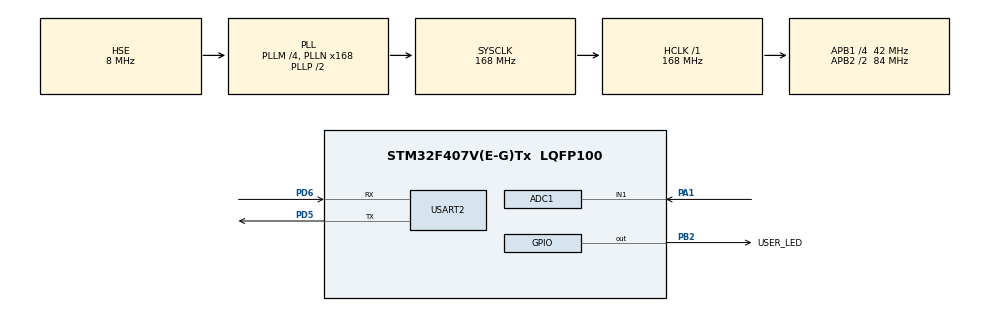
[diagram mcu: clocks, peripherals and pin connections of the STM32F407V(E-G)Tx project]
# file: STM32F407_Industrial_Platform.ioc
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ADC1.Channel-0\#ChannelRegularConversion=ADC_CHANNEL_1
ADC1.DMAContinuousRequests=ENABLE
ADC1.ExternalTrigConv=ADC_EXTERNALTRIGCONV_T2_TRGO
ADC1.NbrOfConversion=1
ADC1.NbrOfConversionFlag=1
ADC1.Rank-0\#ChannelRegularConversion=1
ADC1.SamplingTime-0\#ChannelRegularConversion=ADC_SAMPLETIME_84CYCLES
ADC1.master=1
Dma.ADC1.0.Direction=DMA_PERIPH_TO_MEMORY
Dma.ADC1.0.FIFOMode=DMA_FIFOMODE_DISABLE
Dma.ADC1.0.Instance=DMA2_Stream0
Dma.ADC1.0.MemDataAlignment=DMA_MDATAALIGN_HALFWORD
Dma.ADC1.0.MemInc=DMA_MINC_ENABLE
Dma.ADC1.0.Mode=DMA_CIRCULAR
Dma.ADC1.0.PeriphDataAlignment=DMA_PDATAALIGN_HALFWORD
Dma.ADC1.0.PeriphInc=DMA_PINC_DISABLE
Dma.ADC1.0.Priority=DMA_PRIORITY_LOW
Dma.Request0=ADC1
Dma.Request1=USART2_RX
Dma.USART2_RX.1.Direction=DMA_PERIPH_TO_MEMORY
Dma.USART2_RX.1.FIFOMode=DMA_FIFOMODE_DISABLE
Dma.USART2_RX.1.Instance=DMA1_Stream5
Dma.USART2_RX.1.MemDataAlignment=DMA_MDATAALIGN_BYTE
Dma.USART2_RX.1.MemInc=DMA_MINC_ENABLE
Dma.USART2_RX.1.Mode=DMA_CIRCULAR
Dma.USART2_RX.1.PeriphDataAlignment=DMA_PDATAALIGN_BYTE
Dma.USART2_RX.1.PeriphInc=DMA_PINC_DISABLE
Dma.USART2_RX.1.Priority=DMA_PRIORITY_LOW
FREERTOS.Tasks01=HeartBeatTask,24,128,StartHeartBeatTask,Default,NULL,Dynamic,NULL,NULL;UARTTask,24,256,StartUARTTask,Default,NULL,Dynamic,NULL,NULL;AcquisitionTask,32,256,StartAcquisitionTask,Default,NULL,Dynamic,NULL,NULL
Mcu.Family=STM32F4
Mcu.Name=STM32F407V(E-G)Tx
Mcu.Package=LQFP100
NVIC.DMA1_Stream5_IRQn=true\:5\:0\:false\:false\:true\:true\:false\:true\:true
NVIC.DMA2_Stream0_IRQn=true\:5\:0\:false\:false\:true\:true\:false\:true\:true
NVIC.PriorityGroup=NVIC_PRIORITYGROUP_4
NVIC.TIM6_DAC_IRQn=true\:15\:0\:false\:false\:true\:false\:false\:true\:true
NVIC.TIM7_IRQn=true\:5\:0\:false\:false\:true\:true\:true\:true\:true
NVIC.TimeBase=TIM6_DAC_IRQn
NVIC.TimeBaseIP=TIM6
NVIC.USART2_IRQn=true\:5\:0\:false\:false\:true\:true\:true\:true\:true
PA1.Signal=ADCx_IN1
PA13.Mode=Serial_Wire
PA13.Signal=SYS_JTMS-SWDIO
PA14.Mode=Serial_Wire
PA14.Signal=SYS_JTCK-SWCLK
PB2.GPIO_Label=USER_LED
PB2.Signal=GPIO_Output
PD5.Mode=Asynchronous
PD5.Signal=USART2_TX
PD6.Mode=Asynchronous
PD6.Signal=USART2_RX
PH0-OSC_IN.Mode=HSE-External-Oscillator
PH0-OSC_IN.Signal=RCC_OSC_IN
PH1-OSC_OUT.Mode=HSE-External-Oscillator
PH1-OSC_OUT.Signal=RCC_OSC_OUT
ProjectManager.HeapSize=0x200
ProjectManager.StackSize=0x400
ProjectManager.TargetToolchain=CMake
RCC.48MHZClocksFreq_Value=84000000
RCC.AHBFreq_Value=168000000
RCC.APB1CLKDivider=RCC_HCLK_DIV4
RCC.APB1Freq_Value=42000000
RCC.APB1TimFreq_Value=84000000
RCC.APB2CLKDivider=RCC_HCLK_DIV2
RCC.APB2Freq_Value=84000000
RCC.APB2TimFreq_Value=168000000
RCC.CortexFreq_Value=168000000
RCC.HCLKFreq_Value=168000000
RCC.HSE_VALUE=8000000
RCC.HSI_VALUE=16000000
RCC.LSE_VALUE=32768
RCC.PLLM=4
RCC.PLLN=168
RCC.PLLSourceVirtual=RCC_PLLSOURCE_HSE
RCC.SYSCLKFreq_VALUE=168000000
RCC.SYSCLKSource=RCC_SYSCLKSOURCE_PLLCLK
RCC.VCOOutputFreq_Value=336000000
SH.ADCx_IN1.0=ADC1_IN1,IN1
TIM2.Period=199
TIM2.Prescaler=8399
TIM2.TIM_MasterOutputTrigger=TIM_TRGO_UPDATE
TIM7.AutoReloadPreload=TIM_AUTORELOAD_PRELOAD_ENABLE
TIM7.Period=999
TIM7.Prescaler=8399
USART2.VirtualMode=VM_ASYNC
VP_FREERTOS_VS_CMSIS_V2.Mode=CMSIS_V2
VP_SYS_VS_tim6.Mode=TIM6
VP_TIM2_VS_ClockSourceINT.Mode=Internal
VP_TIM7_VS_ClockSourceINT.Mode=Enable_Timer
board=custom

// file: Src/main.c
/* USER CODE BEGIN Header */
/**
  ******************************************************************************
  * @file           : main.c
  * @brief          : Main program body
  ******************************************************************************
  * @attention
  *
  * Copyright (c) 2026 STMicroelectronics.
  * All rights reserved.
  *
  * This software is licensed under terms that can be found in the LICENSE file
  * in the root directory of this software component.
  * If no LICENSE file comes with this software, it is provided AS-IS.
  *
  ******************************************************************************
  */
/* USER CODE END Header */
#include "main.h"
#include "cmsis_os.h"
#include "adc.h"
#include "dma.h"
#include "tim.h"
#include "usart.h"
#include "gpio.h"

void SystemClock_Config(void);
void MX_FREERTOS_Init(void);

int main(void)
{

  /* MCU Configuration--------------------------------------------------------*/

  /* Reset of all peripherals, Initializes the Flash interface and the Systick. */
  HAL_Init();

  /* Configure the system clock */
  SystemClock_Config();

  /* Initialize all configured peripherals */
  MX_GPIO_Init();
  MX_DMA_Init();
  MX_USART2_UART_Init();
  MX_TIM7_Init();
  MX_ADC1_Init();
  MX_TIM2_Init();

  /* Init scheduler */
  osKernelInitialize();  /* Call init function for freertos objects (in cmsis_os2.c) */
  MX_FREERTOS_Init();

  /* Start scheduler */
  osKernelStart();

  /* We should never get here as control is now taken by the scheduler */

  /* Infinite loop */
  while (1)
  {

  }
}

void SystemClock_Config(void)
{
  RCC_OscInitTypeDef RCC_OscInitStruct = {0};
  RCC_ClkInitTypeDef RCC_ClkInitStruct = {0};

  /** Configure the main internal regulator output voltage
  */
  __HAL_RCC_PWR_CLK_ENABLE();
  __HAL_PWR_VOLTAGESCALING_CONFIG(PWR_REGULATOR_VOLTAGE_SCALE1);

  /** Initializes the RCC Oscillators according to the specified parameters
  * in the RCC_OscInitTypeDef structure.
  */
  RCC_OscInitStruct.OscillatorType = RCC_OSCILLATORTYPE_HSE;
  RCC_OscInitStruct.HSEState = RCC_HSE_ON;
  RCC_OscInitStruct.PLL.PLLState = RCC_PLL_ON;
  RCC_OscInitStruct.PLL.PLLSource = RCC_PLLSOURCE_HSE;
  RCC_OscInitStruct.PLL.PLLM = 4;
  RCC_OscInitStruct.PLL.PLLN = 168;
  RCC_OscInitStruct.PLL.PLLP = RCC_PLLP_DIV2;
  RCC_OscInitStruct.PLL.PLLQ = 4;
  if (HAL_RCC_OscConfig(&RCC_OscInitStruct) != HAL_OK)
  {
    Error_Handler();
  }

  /** Initializes the CPU, AHB and APB buses clocks
  */
  RCC_ClkInitStruct.ClockType = RCC_CLOCKTYPE_HCLK|RCC_CLOCKTYPE_SYSCLK
                              |RCC_CLOCKTYPE_PCLK1|RCC_CLOCKTYPE_PCLK2;
  RCC_ClkInitStruct.SYSCLKSource = RCC_SYSCLKSOURCE_PLLCLK;
  RCC_ClkInitStruct.AHBCLKDivider = RCC_SYSCLK_DIV1;
  RCC_ClkInitStruct.APB1CLKDivider = RCC_HCLK_DIV4;
  RCC_ClkInitStruct.APB2CLKDivider = RCC_HCLK_DIV2;

  if (HAL_RCC_ClockConfig(&RCC_ClkInitStruct, FLASH_LATENCY_5) != HAL_OK)
  {
    Error_Handler();
  }
}

void HAL_TIM_PeriodElapsedCallback(TIM_HandleTypeDef *htim)
{
  if (htim->Instance == TIM6)
  {
    HAL_IncTick();
  }
}

void Error_Handler(void)
{
  __disable_irq();
  while (1)
  {
  }
}

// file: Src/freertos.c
/* USER CODE BEGIN Header */
/**
  ******************************************************************************
  * File Name          : freertos.c
  * Description        : Code for freertos applications
  ******************************************************************************
  * @attention
  *
  * Copyright (c) 2026 STMicroelectronics.
  * All rights reserved.
  *
  * This software is licensed under terms that can be found in the LICENSE file
  * in the root directory of this software component.
  * If no LICENSE file comes with this software, it is provided AS-IS.
  *
  ******************************************************************************
  */
/* USER CODE END Header */

#include "FreeRTOS.h"
#include "cmsis_os2.h"
#include "portmacro.h"
#include "projdefs.h"
#include "stm32f407xx.h"
#include "task.h"
#include "main.h"
#include "cmsis_os.h"

/* USER CODE BEGIN Includes */
#include "usart.h"
#include "debug_log.h"
#include "byte_ring_buffer.h"
#include "adc.h"
#include "tim.h"
#include <stdatomic.h>
#include <stdint.h>
#include <stddef.h>
#if defined(M4_ENABLE_SPSC_TEST)
#include "m4_spsc_test.h"
#endif
/* USER CODE END Includes */

/* USER CODE BEGIN PTD */
typedef enum
{
  M6_RX_RUNNING = 0U,
  M6_RX_FAULT_PENDING,
  M6_RX_RECOVERING,
  M6_RX_RETRY_WAIT,
  M6_RX_FAILED
} M6_RxState_t;
/* USER CODE END PTD */

/* USER CODE BEGIN PD */
#define ADC_FLAG_HALF           (1UL << 0)
#define ADC_FLAG_FULL           (1UL << 1)

#define ADC_BUFFER_SIZE         20U

#define M6_RX_DMA_SIZE          256U
#define M6_RING_BUFF_SIZE       1024U
#define M6_RX_MAX_RETRIES       3U
#define M6_RX_RETRY_DELAY_MS    100U
#define SYS_SUMMARY_PERIOD_SEC  5U
/* USER CODE END PD */

/* USER CODE BEGIN Variables */
static uint16_t adc_buffer[ADC_BUFFER_SIZE];
volatile uint32_t voltage = 0;

volatile uint32_t adc_half_count = 0U;
volatile uint32_t adc_full_count = 0U;
volatile uint32_t adc_error_count = 0U;
volatile uint32_t adc_half_processed = 0U;
volatile uint32_t adc_full_processed = 0U;
volatile uint32_t adc_half_tick = 0U;
volatile uint32_t adc_full_tick = 0U;
volatile uint32_t adc_late_count = 0U;

static uint8_t m6_dma_rx_buf[M6_RX_DMA_SIZE];
static uint8_t m6_rx_ring_storage[M6_RING_BUFF_SIZE];
static ByteRingBuffer_t m6_rx_rb;

static volatile uint32_t m6_dma_old_pos = 0U;
static volatile uint32_t m6_start_fail = 0U;

static volatile uint32_t m6_observed_byte = 0U;
static volatile uint32_t m6_written_byte = 0U;
static volatile uint32_t m6_drop_byte = 0U;
static volatile uint32_t m6_consumed_byte = 0U;

static volatile uint32_t m6_last_observed_byte = 0U;
static volatile uint32_t m6_last_written_byte = 0U;
static volatile uint32_t m6_last_drop_byte = 0U;
static volatile uint32_t m6_last_consumed_byte = 0U;
static volatile uint32_t m6_last_pending_byte = 0U;
static volatile uint32_t m6_stats_error_count = 0U;

static volatile uint32_t m6_uart_error_count = 0U;
static volatile uint32_t m6_uart_pe_count = 0U;
static volatile uint32_t m6_uart_ne_count = 0U;
static volatile uint32_t m6_uart_fe_count = 0U;
static volatile uint32_t m6_uart_ore_count = 0U;
static volatile uint32_t m6_uart_dma_error_count = 0U;
static volatile uint32_t m6_uart_last_error = 0U;

static _Atomic uint32_t m6_rx_state = M6_RX_RUNNING;

static volatile uint32_t m6_rx_recover_attempts = 0U;
static volatile uint32_t m6_rx_recover_start_ok = 0U;
static volatile uint32_t m6_recover_attempt_fail = 0U;
static volatile uint32_t m6_rx_recover_exhausted = 0U;
static volatile uint32_t m6_rx_gap_count = 0U;
/* USER CODE END Variables */
/* Definitions for HeartBeatTask */
osThreadId_t HeartBeatTaskHandle;
const osThreadAttr_t HeartBeatTask_attributes = {
  .name = "HeartBeatTask",
  .stack_size = 128 * 4,
  .priority = (osPriority_t) osPriorityNormal,
};
/* Definitions for UARTTask */
osThreadId_t UARTTaskHandle;
const osThreadAttr_t UARTTask_attributes = {
  .name = "UARTTask",
  .stack_size = 256 * 4,
  .priority = (osPriority_t) osPriorityNormal,
};
/* Definitions for AcquisitionTask */
osThreadId_t AcquisitionTaskHandle;
const osThreadAttr_t AcquisitionTask_attributes = {
  .name = "AcquisitionTask",
  .stack_size = 256 * 4,
  .priority = (osPriority_t) osPriorityAboveNormal,
};

/* USER CODE BEGIN FunctionPrototypes */
static HAL_StatusTypeDef M6_UART_RxStart(void)
{
  return HAL_UARTEx_ReceiveToIdle_DMA(&huart2,
                                      m6_dma_rx_buf,
                                      M6_RX_DMA_SIZE);
}

static void M6_GetRxStats(void)
{
  taskENTER_CRITICAL();

  m6_last_consumed_byte = m6_consumed_byte;
  m6_last_drop_byte = m6_drop_byte;
  m6_last_observed_byte = m6_observed_byte;
  m6_last_written_byte = m6_written_byte;
  m6_last_pending_byte = ByteRingBuffer_Pending(&m6_rx_rb);

  taskEXIT_CRITICAL();

  if ((m6_last_observed_byte != (m6_last_drop_byte + m6_last_written_byte)) ||
      (m6_last_written_byte != (m6_last_consumed_byte + m6_last_pending_byte)))
  {
    m6_stats_error_count++;
  }
}

static void M6_UART_RecordError(uint32_t error)
{
  m6_uart_last_error = error;
  m6_uart_error_count++;

  if ((error & HAL_UART_ERROR_PE) != 0U)
  {
    m6_uart_pe_count++;
  }

  if ((error & HAL_UART_ERROR_NE) != 0U)
  {
    m6_uart_ne_count++;
  }

  if ((error & HAL_UART_ERROR_FE) != 0U)
  {
    m6_uart_fe_count++;
  }

  if ((error & HAL_UART_ERROR_ORE) != 0U)
  {
    m6_uart_ore_count++;
  }

  if ((error & HAL_UART_ERROR_DMA) != 0U)
  {
    m6_uart_dma_error_count++;
  }
}

static HAL_StatusTypeDef M6_UART_RecoverRx(void)
{
  DMA_HandleTypeDef *hdma = huart2.hdmarx;
  HAL_StatusTypeDef status;

  if (hdma == NULL)
  {
    return HAL_ERROR;
  }

  /* Wait while HAL DMA abort is still in progress. */
  if (HAL_DMA_GetState(hdma) == HAL_DMA_STATE_ABORT)
  {
    return HAL_BUSY;
  }

  /* UART already cleared DMAR, but DMA stream has not returned to READY yet. */
  if ((HAL_DMA_GetState(hdma) == HAL_DMA_STATE_BUSY) &&
      ((huart2.Instance->CR3 & USART_CR3_DMAR) == 0U))
  {
    return HAL_BUSY;
  }

  /* Explicitly abort RX only if UART RX or DMAR is still active. */
  if ((huart2.RxState != HAL_UART_STATE_READY) ||
      ((huart2.Instance->CR3 & USART_CR3_DMAR) != 0U))
  {
    status = HAL_UART_AbortReceive(&huart2);
    if (status != HAL_OK)
    {
      return status;
    }
  }

  /* Ensure both UART RX and DMA stream are completely idle before restart. */
  if ((huart2.RxState != HAL_UART_STATE_READY) ||
      (HAL_DMA_GetState(hdma) != HAL_DMA_STATE_READY) ||
      ((huart2.Instance->CR3 & USART_CR3_DMAR) != 0U) ||
      ((hdma->Instance->CR & DMA_SxCR_EN) != 0U))
  {
    return HAL_BUSY;
  }

  /* Preserve unread bytes in software ring buffer; reset DMA cursor only. */
  m6_dma_old_pos = 0U;

  return M6_UART_RxStart();
}
/* USER CODE END FunctionPrototypes */

void StartHeartBeatTask(void *argument);
void StartUARTTask(void *argument);
void StartAcquisitionTask(void *argument);

void MX_FREERTOS_Init(void); /* (MISRA C 2004 rule 8.1) */

void MX_FREERTOS_Init(void) {
  /* USER CODE BEGIN Init */
  if (ByteRingBuffer_Init(&m6_rx_rb, m6_rx_ring_storage, M6_RING_BUFF_SIZE) != BYTE_RB_OK)
  {
    Error_Handler();
  }

  if (M6_UART_RxStart() != HAL_OK)
  {
    m6_start_fail++;

    atomic_store_explicit(&m6_rx_state,
                          M6_RX_FAULT_PENDING,
                          memory_order_release);
  }
  /* USER CODE END Init */

  /* USER CODE BEGIN RTOS_MUTEX */
  /* add mutexes, ... */
  if (DebugLog_Init(&huart2) != DEBUG_LOG_OK)
  {
      Error_Handler();
  }
  /* USER CODE END RTOS_MUTEX */

  /* Create the thread(s) */
  /* creation of HeartBeatTask */
  HeartBeatTaskHandle = osThreadNew(StartHeartBeatTask, NULL, &HeartBeatTask_attributes);

  /* creation of UARTTask */
  UARTTaskHandle = osThreadNew(StartUARTTask, NULL, &UARTTask_attributes);

  /* creation of AcquisitionTask */
  AcquisitionTaskHandle = osThreadNew(StartAcquisitionTask, NULL, &AcquisitionTask_attributes);

  /* USER CODE BEGIN RTOS_THREADS */
  /* add threads, ... */
#if defined(M4_ENABLE_SPSC_TEST)
  if (M4SpscTest_Init() != M4_SPSC_OK)
  {
      Error_Handler();
  }
#endif
  /* USER CODE END RTOS_THREADS */

}

void StartHeartBeatTask(void *argument)
{
  /* USER CODE BEGIN StartHeartBeatTask */
  /* Infinite loop */
  for(;;)
  {
    HAL_GPIO_TogglePin(GPIOB, USER_LED_Pin);
    osDelay(500U);
  }
  /* USER CODE END StartHeartBeatTask */
}

void StartUARTTask(void *argument)
{
  /* USER CODE BEGIN StartUARTTask */
  static uint8_t m6_rx_chunk[64];
  uint32_t last_summary_tick = osKernelGetTickCount();
  uint32_t m6_rx_retry_count = 0U;
  uint32_t m6_next_retry_tick = 0U;
  uint32_t last_logged_rx_state = M6_RX_RUNNING;
  uint32_t last_logged_err_count = 0U;
  uint32_t last_logged_stats_err = 0U;

  const uint32_t m6_retry_delay_ticks = pdMS_TO_TICKS(M6_RX_RETRY_DELAY_MS);
  const uint32_t summary_period_ticks = SYS_SUMMARY_PERIOD_SEC * osKernelGetTickFreq();

  /* Infinite loop */
  for (;;)
  {
    uint32_t now = osKernelGetTickCount();
    uint32_t state = atomic_load_explicit(&m6_rx_state, memory_order_acquire);

    /* Fault reported by ISR: transition to bounded retry backoff. */
    if (state == M6_RX_FAULT_PENDING)
    {
      uint32_t expected = M6_RX_FAULT_PENDING;

      if (atomic_compare_exchange_strong(&m6_rx_state,
                                         &expected,
                                         M6_RX_RETRY_WAIT))
      {
        m6_rx_retry_count = 0U;
        m6_rx_gap_count++;
        m6_next_retry_tick = now + m6_retry_delay_ticks;
      }
    }
    /* Wait for retry backoff so UART/DMA can settle before recovery. */
    else if (state == M6_RX_RETRY_WAIT)
    {
      if ((int32_t)(now - m6_next_retry_tick) >= 0)
      {
        uint32_t expected = M6_RX_RETRY_WAIT;

        (void)atomic_compare_exchange_strong(&m6_rx_state,
                                             &expected,
                                             M6_RX_RECOVERING);
      }
    }

    /* Execute RX DMA recovery exclusively in task context. */
    if (atomic_load_explicit(&m6_rx_state, memory_order_acquire) == M6_RX_RECOVERING)
    {
      HAL_StatusTypeDef result = M6_UART_RecoverRx();
      uint32_t expected = M6_RX_RECOVERING;

      m6_rx_recover_attempts++;

      if (result == HAL_OK)
      {
        m6_rx_recover_start_ok++;

        (void)atomic_compare_exchange_strong(&m6_rx_state,
                                             &expected,
                                             M6_RX_RUNNING);
      }
      else
      {
        m6_recover_attempt_fail++;
        m6_rx_retry_count++;

        if (m6_rx_retry_count >= M6_RX_MAX_RETRIES)
        {
          if (atomic_compare_exchange_strong(&m6_rx_state,
                                             &expected,
                                             M6_RX_FAILED))
          {
            m6_rx_recover_exhausted++;
          }
        }
        else
        {
          m6_next_retry_tick = now + m6_retry_delay_ticks;

          (void)atomic_compare_exchange_strong(&m6_rx_state,
                                               &expected,
                                               M6_RX_RETRY_WAIT);
        }
      }
    }

    /* Drain software byte ring buffer (up to 4 x 64 B per loop). */
    uint32_t round_rx_bytes = 0U;
    for (uint32_t block = 0U; block < 4U; block++)
    {
      const uint32_t count = ByteRingBuffer_Read(&m6_rx_rb,
                                                 m6_rx_chunk,
                                                 sizeof(m6_rx_chunk));
      if (count == 0U)
      {
        break;
      }

      round_rx_bytes += count;
      m6_consumed_byte += count;
    }

    if (round_rx_bytes > 0U)
    {
      LOG_INFO("RX", "recv=%lu B", (unsigned long)round_rx_bytes);
    }

    /* Periodic 5-second compact summary covering SYS, M5 ADC, and M6 RX. */
    if ((uint32_t)(now - last_summary_tick) >= summary_period_ticks)
    {
      uint32_t heartbeat_stack_free = osThreadGetStackSpace(HeartBeatTaskHandle);
      uint32_t uart_stack_free = osThreadGetStackSpace(UARTTaskHandle);
      uint32_t acq_stack_free = osThreadGetStackSpace(AcquisitionTaskHandle);
      size_t heap_free = xPortGetFreeHeapSize();
      size_t heap_min_free = xPortGetMinimumEverFreeHeapSize();

      last_summary_tick = now;
      M6_GetRxStats();

      LOG_INFO("SYS",
               "StackFree Heart=%lu UART=%lu Acq=%lu B",
               (unsigned long)heartbeat_stack_free,
               (unsigned long)uart_stack_free,
               (unsigned long)acq_stack_free);

      LOG_INFO("SYS",
               "Heap=%lu B MinHeap=%lu B",
               (unsigned long)heap_free,
               (unsigned long)heap_min_free);

      LOG_INFO("ADC",
               "V=%lu mV Late=%lu Err=%lu",
               (unsigned long)voltage,
               (unsigned long)adc_late_count,
               (unsigned long)adc_error_count);

      LOG_INFO("RX",
               "Obs=%lu Con=%lu Drop=%lu State=%lu Err=%lu",
               (unsigned long)m6_last_observed_byte,
               (unsigned long)m6_last_consumed_byte,
               (unsigned long)m6_last_drop_byte,
               (unsigned long)atomic_load_explicit(&m6_rx_state, memory_order_acquire),
               (unsigned long)m6_uart_error_count);

#if defined(M4_ENABLE_SPSC_TEST)
      LOG_INFO("SYS",
               "SpscPFree=%lu B SpscCFree=%lu B",
               (unsigned long)M4SpscTest_GetProducerStackFree(),
               (unsigned long)M4SpscTest_GetConsumerStackFree());
#endif
    }

    /* Event-triggered error and recovery diagnostics. */
    {
      uint32_t cur_state = atomic_load_explicit(&m6_rx_state, memory_order_acquire);
      uint32_t cur_err = m6_uart_error_count;
      uint32_t cur_stats_err = m6_stats_error_count;

      if ((cur_state != last_logged_rx_state) ||
          (cur_err != last_logged_err_count) ||
          (cur_stats_err != last_logged_stats_err))
      {
        last_logged_rx_state = cur_state;
        last_logged_err_count = cur_err;
        last_logged_stats_err = cur_stats_err;

        LOG_WARN("M6ERR",
                 "St=%lu Err=%lu Last=0x%08lX PE=%lu NE=%lu FE=%lu ORE=%lu DMA=%lu",
                 (unsigned long)cur_state,
                 (unsigned long)cur_err,
                 (unsigned long)m6_uart_last_error,
                 (unsigned long)m6_uart_pe_count,
                 (unsigned long)m6_uart_ne_count,
                 (unsigned long)m6_uart_fe_count,
                 (unsigned long)m6_uart_ore_count,
                 (unsigned long)m6_uart_dma_error_count);

        LOG_WARN("M6ERR",
                 "Retry=%lu OK=%lu Fail=%lu Exh=%lu Gap=%lu StatErr=%lu",
                 (unsigned long)m6_rx_recover_attempts,
                 (unsigned long)m6_rx_recover_start_ok,
                 (unsigned long)m6_recover_attempt_fail,
                 (unsigned long)m6_rx_recover_exhausted,
                 (unsigned long)m6_rx_gap_count,
                 (unsigned long)cur_stats_err);
      }
    }

    osDelay(10U);
  }
  /* USER CODE END StartUARTTask */
}

void StartAcquisitionTask(void *argument)
{
  /* USER CODE BEGIN StartAcquisitionTask */
  uint32_t flag;
  uint32_t sum = 0U;
  uint32_t adc_average = 0U;
  if (HAL_ADC_Start_DMA(
    &hadc1,
    (uint32_t *)adc_buffer,
    ADC_BUFFER_SIZE) != HAL_OK)
  {
      Error_Handler();
  }

  if (HAL_TIM_Base_Start(&htim2) != HAL_OK)
  {
      Error_Handler();
  }
  /* Infinite loop */
  for(;;)
  {
    flag = osThreadFlagsWait(ADC_FLAG_HALF | ADC_FLAG_FULL,
                                      osFlagsWaitAny,
                                      osWaitForever);

    if ((flag & osFlagsError) != 0U)
    {
        Error_Handler();
    }

    if ((flag & ADC_FLAG_HALF) != 0U)
    {
        if (osKernelGetTickCount() - adc_half_tick >= 200U)
        {
            adc_late_count++;
        }
        sum = 0U;

        for(int i = 0; i < 10; i++)
        {
            sum += adc_buffer[i];
        }
        adc_half_processed++;

        adc_average = sum / 10U;
        voltage = (adc_average * 3300U + 2047U) / 4095U;
    }

    if ((flag & ADC_FLAG_FULL) != 0U)
    {
        if (osKernelGetTickCount() - adc_full_tick >= 200U)
        {
            adc_late_count++;
        }
        sum = 0U;

        for(int i = 10; i < 20; i++)
        {
            sum += adc_buffer[i];
        }
        adc_full_processed++;

        adc_average = sum / 10U;
        voltage = (adc_average * 3300U + 2047U) / 4095U;
    }

  }
  /* USER CODE END StartAcquisitionTask */
}

/* USER CODE BEGIN Application */
void HAL_ADC_ConvHalfCpltCallback(ADC_HandleTypeDef *hadc)
{
    if(hadc->Instance == ADC1)
    {
        adc_half_count++;
        adc_half_tick = osKernelGetTickCount();
        if(AcquisitionTaskHandle != NULL)
        {
            osThreadFlagsSet(AcquisitionTaskHandle,
                            ADC_FLAG_HALF);
        }
    }

}

void HAL_ADC_ConvCpltCallback(ADC_HandleTypeDef *hadc)
{
    if (hadc->Instance == ADC1)
    {
        adc_full_count++;
        adc_full_tick = osKernelGetTickCount();
        if(AcquisitionTaskHandle != NULL)
        {
            osThreadFlagsSet(AcquisitionTaskHandle,
                             ADC_FLAG_FULL);
        }
    }
}

void HAL_ADC_ErrorCallback(ADC_HandleTypeDef *hadc)
{
    if (hadc->Instance == ADC1)
    {

        adc_error_count++;
    }
}

void HAL_UARTEx_RxEventCallback(UART_HandleTypeDef *huart, uint16_t Size)
{
  if (huart->Instance != USART2)
  {
    return;
  }

  if ((Size > 0U) && (Size <= M6_RX_DMA_SIZE))
  {
    uint32_t remaining = __HAL_DMA_GET_COUNTER(huart->hdmarx);
    uint32_t pos = (M6_RX_DMA_SIZE - remaining) % M6_RX_DMA_SIZE;

    if (pos > m6_dma_old_pos)
    {
      uint32_t len = pos - m6_dma_old_pos;
      uint32_t written = ByteRingBuffer_Write(&m6_rx_rb,
                                              &m6_dma_rx_buf[m6_dma_old_pos],
                                              len);
      m6_drop_byte += (len - written);
      m6_written_byte += written;
      m6_observed_byte += len;
      m6_dma_old_pos = pos;
    }
    else if (pos < m6_dma_old_pos)
    {
      uint32_t tail_len = M6_RX_DMA_SIZE - m6_dma_old_pos;
      uint32_t written = ByteRingBuffer_Write(&m6_rx_rb,
                                              &m6_dma_rx_buf[m6_dma_old_pos],
                                              tail_len);
      m6_drop_byte += (tail_len - written);
      m6_written_byte += written;
      m6_observed_byte += tail_len;

      if (pos > 0U)
      {
        written = ByteRingBuffer_Write(&m6_rx_rb, m6_dma_rx_buf, pos);
        m6_drop_byte += (pos - written);
        m6_written_byte += written;
        m6_observed_byte += pos;
      }

      m6_dma_old_pos = pos;
    }
  }
}

void HAL_UART_ErrorCallback(UART_HandleTypeDef *huart)
{
    if (huart->Instance != USART2)
    {
        return;
    }

    uint32_t error = HAL_UART_GetError(huart);

    if (error == HAL_UART_ERROR_NONE)
    {
        return;
    }

    M6_UART_RecordError(error);

    /* don't commence blocking recovery in interrupt callback */
    if(atomic_load_explicit(&m6_rx_state,
                            memory_order_acquire) != M6_RX_FAILED)
    {
      atomic_store_explicit(&m6_rx_state,
                            M6_RX_FAULT_PENDING,
                            memory_order_release);
    }
}

/* USER CODE END Application */
